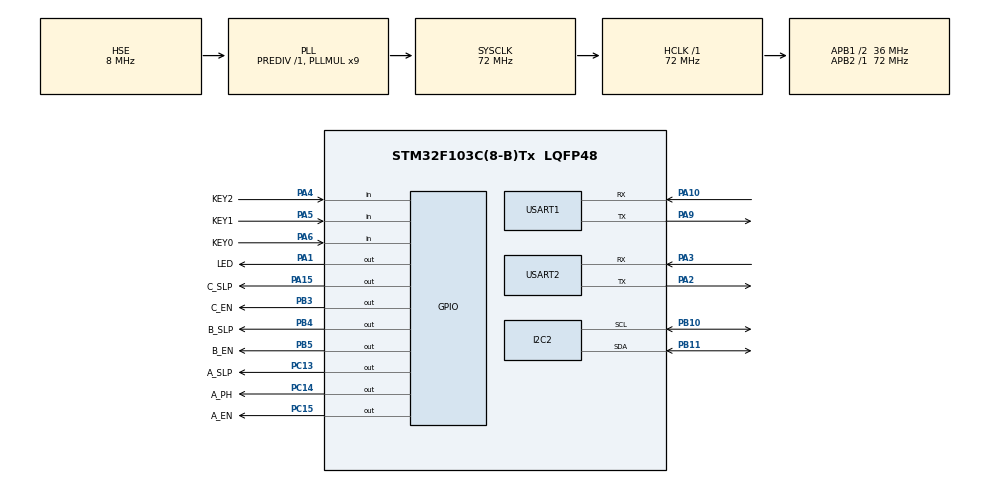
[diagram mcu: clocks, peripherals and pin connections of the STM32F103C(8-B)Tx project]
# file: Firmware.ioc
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FREERTOS.Tasks01=defaultTask,24,128,StartDefaultTask,Default,NULL,Dynamic,NULL,NULL
FREERTOS.configTOTAL_HEAP_SIZE=3072
FREERTOS.configUSE_IDLE_HOOK=1
FREERTOS.configUSE_TICK_HOOK=1
Mcu.Family=STM32F1
Mcu.Name=STM32F103C(8-B)Tx
Mcu.Package=LQFP48
NVIC.PriorityGroup=NVIC_PRIORITYGROUP_4
NVIC.TIM4_IRQn=true\:15\:0\:false\:false\:true\:false\:false\:true\:true
NVIC.TimeBase=TIM4_IRQn
NVIC.TimeBaseIP=TIM4
NVIC.USART1_IRQn=true\:5\:0\:false\:false\:true\:true\:true\:true\:true
NVIC.USART2_IRQn=true\:5\:0\:false\:false\:true\:true\:true\:true\:true
PA1.GPIO_Label=LED
PA1.Signal=GPIO_Output
PA10.Mode=Asynchronous
PA10.Signal=USART1_RX
PA13.Mode=Serial_Wire
PA13.Signal=SYS_JTMS-SWDIO
PA14.Mode=Serial_Wire
PA14.Signal=SYS_JTCK-SWCLK
PA15.GPIO_Label=C_SLP
PA15.Signal=GPIO_Output
PA2.Mode=Asynchronous
PA2.Signal=USART2_TX
PA3.Mode=Asynchronous
PA3.Signal=USART2_RX
PA4.GPIO_Label=KEY2
PA4.GPIO_PuPd=GPIO_PULLUP
PA4.Signal=GPIO_Input
PA5.GPIO_Label=KEY1
PA5.GPIO_PuPd=GPIO_PULLUP
PA5.Signal=GPIO_Input
PA6.GPIO_Label=KEY0
PA6.GPIO_PuPd=GPIO_PULLUP
PA6.Signal=GPIO_Input
PA9.Mode=Asynchronous
PA9.Signal=USART1_TX
PB10.Mode=I2C
PB10.Signal=I2C2_SCL
PB11.Mode=I2C
PB11.Signal=I2C2_SDA
PB3.GPIO_Label=C_EN
PB3.Signal=GPIO_Output
PB4.GPIO_Label=B_SLP
PB4.Signal=GPIO_Output
PB5.GPIO_Label=B_EN
PB5.Signal=GPIO_Output
PC13-TAMPER-RTC.GPIO_Label=A_SLP
PC13-TAMPER-RTC.Signal=GPIO_Output
PC14-OSC32_IN.GPIO_Label=A_PH
PC14-OSC32_IN.Signal=GPIO_Output
PC15-OSC32_OUT.GPIO_Label=A_EN
PC15-OSC32_OUT.Signal=GPIO_Output
PD0-OSC_IN.Mode=HSE-External-Oscillator
PD0-OSC_IN.Signal=RCC_OSC_IN
PD1-OSC_OUT.Mode=HSE-External-Oscillator
PD1-OSC_OUT.Signal=RCC_OSC_OUT
ProjectManager.HeapSize=0x200
ProjectManager.StackSize=0x400
ProjectManager.TargetToolchain=MDK-ARM V5.32
RCC.AHBFreq_Value=72000000
RCC.APB1CLKDivider=RCC_HCLK_DIV2
RCC.APB1Freq_Value=36000000
RCC.APB1TimFreq_Value=72000000
RCC.APB2Freq_Value=72000000
RCC.APB2TimFreq_Value=72000000
RCC.HCLKFreq_Value=72000000
RCC.PLLMUL=RCC_PLL_MUL9
RCC.PLLSourceVirtual=RCC_PLLSOURCE_HSE
RCC.SYSCLKFreq_VALUE=72000000
RCC.SYSCLKSource=RCC_SYSCLKSOURCE_PLLCLK
RCC.USBFreq_Value=72000000
USART1.VirtualMode=VM_ASYNC
USART2.VirtualMode=VM_ASYNC
VP_FREERTOS_VS_CMSIS_V2.Mode=CMSIS_V2
VP_SYS_VS_tim4.Mode=TIM4
board=custom

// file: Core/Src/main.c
/* USER CODE BEGIN Header */
/**
  ******************************************************************************
  * @file           : main.c
  * @brief          : Main program body
  ******************************************************************************
  * @attention
  *
  * Copyright (c) 2023 STMicroelectronics.
  * All rights reserved.
  *
  * This software is licensed under terms that can be found in the LICENSE file
  * in the root directory of this software component.
  * If no LICENSE file comes with this software, it is provided AS-IS.
  *
  ******************************************************************************
  */
/* USER CODE END Header */
#include "main.h"
#include "cmsis_os.h"

#include "esp8266_at.h"
#include "sensor.h"

#include <stdio.h>
#include <stdlib.h>

extern osThreadId_t recv_task_handle;
extern osSemaphoreId_t recv_sem;
extern uint8_t rx_data[128];
extern void recv_task(void *argument);
extern struct esp8266_at my_handle;

float temperature;
float humidity;
uint16_t light_intensity;
uint16_t co2_ppm;
uint16_t tvoc_mgm3;

I2C_HandleTypeDef hi2c2;

UART_HandleTypeDef huart1;
UART_HandleTypeDef huart2;

/* Definitions for defaultTask */
osThreadId_t defaultTaskHandle;
const osThreadAttr_t defaultTask_attributes = {
  .name = "defaultTask",
  .stack_size = 128,
  .priority = (osPriority_t) osPriorityNormal,
};
const osThreadAttr_t recv_task_attr = {
  .name = "recv_task_attr",
  .stack_size = 256,
  .priority = (osPriority_t) osPriorityNormal,
};

void SystemClock_Config(void);
static void MX_GPIO_Init(void);
static void MX_USART1_UART_Init(void);
static void MX_USART2_UART_Init(void);
static void MX_I2C2_Init(void);
void StartDefaultTask(void *argument);

int main(void)
{

  /* MCU Configuration--------------------------------------------------------*/

  /* Reset of all peripherals, Initializes the Flash interface and the Systick. */
  HAL_Init();

  /* Configure the system clock */
  SystemClock_Config();

  /* Initialize all configured peripherals */
  MX_GPIO_Init();
  MX_USART1_UART_Init();
  MX_USART2_UART_Init();
  MX_I2C2_Init();
  /* USER CODE BEGIN 2 */
	HAL_UARTEx_ReceiveToIdle_IT(&huart2, rx_data, 128);
	// HAL_UARTEx_ReceiveToIdle_IT(&huart1, usr_data, 128);
  /* USER CODE END 2 */

  /* Init scheduler */
  osKernelInitialize();

  recv_sem = osSemaphoreNew(1, 0, NULL);

  /* Create the thread(s) */
  /* creation of defaultTask */
  defaultTaskHandle = osThreadNew(StartDefaultTask, NULL, &defaultTask_attributes);
	recv_task_handle = osThreadNew(recv_task, NULL, &recv_task_attr);

  /* Start scheduler */
  osKernelStart();
  /* We should never get here as control is now taken by the scheduler */
  /* Infinite loop */
  while (1)
  {

  }
}

void SystemClock_Config(void)
{
  RCC_OscInitTypeDef RCC_OscInitStruct = {0};
  RCC_ClkInitTypeDef RCC_ClkInitStruct = {0};

  /** Initializes the RCC Oscillators according to the specified parameters
  * in the RCC_OscInitTypeDef structure.
  */
  RCC_OscInitStruct.OscillatorType = RCC_OSCILLATORTYPE_HSE;
  RCC_OscInitStruct.HSEState = RCC_HSE_ON;
  RCC_OscInitStruct.HSEPredivValue = RCC_HSE_PREDIV_DIV1;
  RCC_OscInitStruct.HSIState = RCC_HSI_ON;
  RCC_OscInitStruct.PLL.PLLState = RCC_PLL_ON;
  RCC_OscInitStruct.PLL.PLLSource = RCC_PLLSOURCE_HSE;
  RCC_OscInitStruct.PLL.PLLMUL = RCC_PLL_MUL9;
  if (HAL_RCC_OscConfig(&RCC_OscInitStruct) != HAL_OK)
  {
    Error_Handler();
  }

  /** Initializes the CPU, AHB and APB buses clocks
  */
  RCC_ClkInitStruct.ClockType = RCC_CLOCKTYPE_HCLK|RCC_CLOCKTYPE_SYSCLK
                              |RCC_CLOCKTYPE_PCLK1|RCC_CLOCKTYPE_PCLK2;
  RCC_ClkInitStruct.SYSCLKSource = RCC_SYSCLKSOURCE_PLLCLK;
  RCC_ClkInitStruct.AHBCLKDivider = RCC_SYSCLK_DIV1;
  RCC_ClkInitStruct.APB1CLKDivider = RCC_HCLK_DIV2;
  RCC_ClkInitStruct.APB2CLKDivider = RCC_HCLK_DIV1;

  if (HAL_RCC_ClockConfig(&RCC_ClkInitStruct, FLASH_LATENCY_2) != HAL_OK)
  {
    Error_Handler();
  }
}

static void MX_I2C2_Init(void)
{

  hi2c2.Instance = I2C2;
  hi2c2.Init.ClockSpeed = 100000;
  hi2c2.Init.DutyCycle = I2C_DUTYCYCLE_2;
  hi2c2.Init.OwnAddress1 = 0;
  hi2c2.Init.AddressingMode = I2C_ADDRESSINGMODE_7BIT;
  hi2c2.Init.DualAddressMode = I2C_DUALADDRESS_DISABLE;
  hi2c2.Init.OwnAddress2 = 0;
  hi2c2.Init.GeneralCallMode = I2C_GENERALCALL_DISABLE;
  hi2c2.Init.NoStretchMode = I2C_NOSTRETCH_DISABLE;
  if (HAL_I2C_Init(&hi2c2) != HAL_OK)
  {
    Error_Handler();
  }

}

static void MX_USART1_UART_Init(void)
{

  huart1.Instance = USART1;
  huart1.Init.BaudRate = 115200;
  huart1.Init.WordLength = UART_WORDLENGTH_8B;
  huart1.Init.StopBits = UART_STOPBITS_1;
  huart1.Init.Parity = UART_PARITY_NONE;
  huart1.Init.Mode = UART_MODE_TX_RX;
  huart1.Init.HwFlowCtl = UART_HWCONTROL_NONE;
  huart1.Init.OverSampling = UART_OVERSAMPLING_16;
  if (HAL_UART_Init(&huart1) != HAL_OK)
  {
    Error_Handler();
  }

}

static void MX_USART2_UART_Init(void)
{

  huart2.Instance = USART2;
  huart2.Init.BaudRate = 115200;
  huart2.Init.WordLength = UART_WORDLENGTH_8B;
  huart2.Init.StopBits = UART_STOPBITS_1;
  huart2.Init.Parity = UART_PARITY_NONE;
  huart2.Init.Mode = UART_MODE_TX_RX;
  huart2.Init.HwFlowCtl = UART_HWCONTROL_NONE;
  huart2.Init.OverSampling = UART_OVERSAMPLING_16;
  if (HAL_UART_Init(&huart2) != HAL_OK)
  {
    Error_Handler();
  }

}

static void MX_GPIO_Init(void)
{
  GPIO_InitTypeDef GPIO_InitStruct = {0};

  /* GPIO Ports Clock Enable */
  __HAL_RCC_GPIOC_CLK_ENABLE();
  __HAL_RCC_GPIOD_CLK_ENABLE();
  __HAL_RCC_GPIOA_CLK_ENABLE();
  __HAL_RCC_GPIOB_CLK_ENABLE();

  /*Configure GPIO pin Output Level */
  HAL_GPIO_WritePin(GPIOC, A_SLP_Pin|A_PH_Pin|A_EN_Pin, GPIO_PIN_RESET);

  /*Configure GPIO pin Output Level */
  HAL_GPIO_WritePin(GPIOA, LED_Pin|C_SLP_Pin, GPIO_PIN_RESET);

  /*Configure GPIO pin Output Level */
  HAL_GPIO_WritePin(GPIOB, C_EN_Pin|B_SLP_Pin|B_EN_Pin, GPIO_PIN_RESET);

  /*Configure GPIO pins : A_SLP_Pin A_PH_Pin A_EN_Pin */
  GPIO_InitStruct.Pin = A_SLP_Pin|A_PH_Pin|A_EN_Pin;
  GPIO_InitStruct.Mode = GPIO_MODE_OUTPUT_PP;
  GPIO_InitStruct.Pull = GPIO_NOPULL;
  GPIO_InitStruct.Speed = GPIO_SPEED_FREQ_LOW;
  HAL_GPIO_Init(GPIOC, &GPIO_InitStruct);

  /*Configure GPIO pins : LED_Pin C_SLP_Pin */
  GPIO_InitStruct.Pin = LED_Pin|C_SLP_Pin;
  GPIO_InitStruct.Mode = GPIO_MODE_OUTPUT_PP;
  GPIO_InitStruct.Pull = GPIO_NOPULL;
  GPIO_InitStruct.Speed = GPIO_SPEED_FREQ_LOW;
  HAL_GPIO_Init(GPIOA, &GPIO_InitStruct);

  /*Configure GPIO pins : KEY2_Pin KEY1_Pin KEY0_Pin */
  GPIO_InitStruct.Pin = KEY2_Pin|KEY1_Pin|KEY0_Pin;
  GPIO_InitStruct.Mode = GPIO_MODE_INPUT;
  GPIO_InitStruct.Pull = GPIO_PULLUP;
  HAL_GPIO_Init(GPIOA, &GPIO_InitStruct);

  /*Configure GPIO pins : C_EN_Pin B_SLP_Pin B_EN_Pin */
  GPIO_InitStruct.Pin = C_EN_Pin|B_SLP_Pin|B_EN_Pin;
  GPIO_InitStruct.Mode = GPIO_MODE_OUTPUT_PP;
  GPIO_InitStruct.Pull = GPIO_NOPULL;
  GPIO_InitStruct.Speed = GPIO_SPEED_FREQ_LOW;
  HAL_GPIO_Init(GPIOB, &GPIO_InitStruct);

}

void StartDefaultTask(void *argument)
{
  osDelay(1000);
	esp8266_at_init();
	my_handle.config(&my_handle);
	AHT20_Init(&hi2c2);
	BH1750_Init(&hi2c2);
  for(;;)
  {
		osDelay(3000);

    AHT20_GetData(&hi2c2, &temperature, &humidity);
		printf("Temperature: %.2f C\n", temperature);
		printf("Humidity: %.2f C\n", humidity);

		BH1750_Start(&hi2c2);
		osDelay(180);
		light_intensity = BH1750_Read(&hi2c2);
		printf("Light Intensity: %d lx\n", light_intensity);

		co2_ppm = rand() % 100 + 650;
		printf("CO2 Concentration: %d ppm\n", co2_ppm);

		tvoc_mgm3 = rand() % 100 + 250;
		printf("TVOC Concentration: %.3f mg/m3\n", tvoc_mgm3 * 1.0f / 1000);
  }
  /* USER CODE END 5 */
}

void HAL_TIM_PeriodElapsedCallback(TIM_HandleTypeDef *htim)
{
  if (htim->Instance == TIM4) {
    HAL_IncTick();
  }
}

void Error_Handler(void)
{
  __disable_irq();
  while (1)
  {
  }
}

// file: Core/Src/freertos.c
/* USER CODE BEGIN Header */
/**
  ******************************************************************************
  * File Name          : freertos.c
  * Description        : Code for freertos applications
  ******************************************************************************
  * @attention
  *
  * Copyright (c) 2023 STMicroelectronics.
  * All rights reserved.
  *
  * This software is licensed under terms that can be found in the LICENSE file
  * in the root directory of this software component.
  * If no LICENSE file comes with this software, it is provided AS-IS.
  *
  ******************************************************************************
  */
/* USER CODE END Header */

#include "FreeRTOS.h"
#include "task.h"
#include "main.h"

/* USER CODE BEGIN PTD */
void motor_toggle(void)
{
	static unsigned char stat = 1;
	HAL_GPIO_WritePin(A_SLP_GPIO_Port, A_SLP_Pin, stat);
	HAL_GPIO_WritePin(A_EN_GPIO_Port, A_EN_Pin, stat);
	HAL_GPIO_WritePin(A_PH_GPIO_Port, A_PH_Pin, GPIO_PIN_SET);
	stat ^= 1;
}

/* USER CODE END PTD */

/* Hook prototypes */
void vApplicationIdleHook(void);
void vApplicationTickHook(void);

/* USER CODE BEGIN 2 */
void vApplicationIdleHook( void )
{
   /* vApplicationIdleHook() will only be called if configUSE_IDLE_HOOK is set
   to 1 in FreeRTOSConfig.h. It will be called on each iteration of the idle
   task. It is essential that code added to this hook function never attempts
   to block in any way (for example, call xQueueReceive() with a block time
   specified, or call vTaskDelay()). If the application makes use of the
   vTaskDelete() API function (as this demo application does) then it is also
   important that vApplicationIdleHook() is permitted to return to its calling
   function, because it is the responsibility of the idle task to clean up
   memory allocated by the kernel to any task that has since been deleted. */
}
/* USER CODE END 2 */

/* USER CODE BEGIN 3 */
void vApplicationTickHook( void )

{
   /* This function will be called by each tick interrupt if
   configUSE_TICK_HOOK is set to 1 in FreeRTOSConfig.h. User code can be
   added here, but the tick hook is called from an interrupt context, so
   code must not attempt to block, and only the interrupt safe FreeRTOS API
   functions can be used (those that end in FromISR()). */
	static int count = 0;
	static unsigned char old_key0 = 1;
	static unsigned char old_key1 = 1;
	static unsigned char old_key2 = 1;
	unsigned char new_key0;
	unsigned char new_key1;
	unsigned char new_key2;

	count++;

	if ((count % 10) == 0)
	{
		new_key0 = HAL_GPIO_ReadPin(KEY0_GPIO_Port, KEY0_Pin);
		new_key1 = HAL_GPIO_ReadPin(KEY1_GPIO_Port, KEY1_Pin);
		new_key2 = HAL_GPIO_ReadPin(KEY2_GPIO_Port, KEY2_Pin);

		if (old_key0 && !new_key0)
		{
			motor_toggle();
		}

		if (old_key1 && !new_key1)
		{
			motor_toggle();
		}

		if (old_key2 && !new_key2)
		{
			motor_toggle();
		}

		old_key0 = new_key0;
		old_key1 = new_key1;
		old_key2 = new_key2;
	}

	if ((count % 1000) == 0)
	{
		HAL_GPIO_TogglePin(LED_GPIO_Port, LED_Pin);
	}
}
/* USER CODE END 3 */
